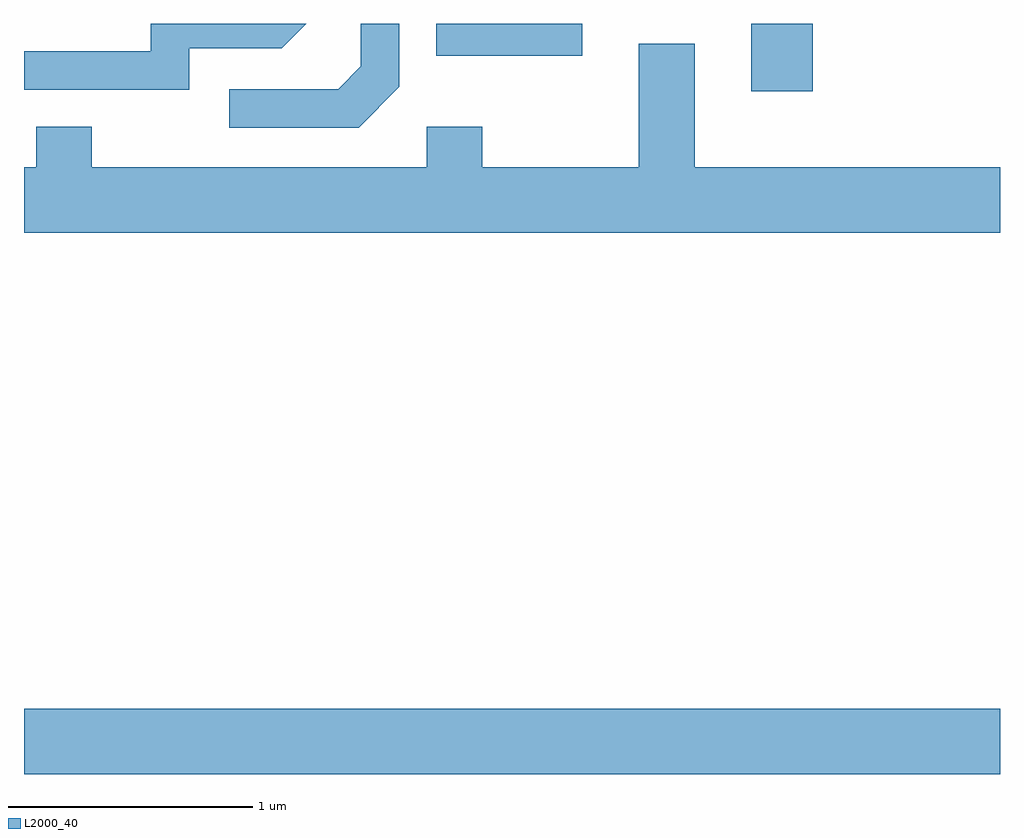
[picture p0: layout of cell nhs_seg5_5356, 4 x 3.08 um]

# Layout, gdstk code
import gdstk
lib = gdstk.Library(unit=1e-6, precision=1e-09)
def R(c, l, rs):  # rectangles x0, y0, x1, y1
    for r in rs: c.add(gdstk.rectangle(r[:2], r[2:], *l))
def P(c, l, *ps):  # polygons
    for p in ps: c.add(gdstk.Polygon(p, *l))
L2000_40 = (2000, 40)

nhs_seg5_5356 = lib.new_cell('nhs_seg5_5356')
R(nhs_seg5_5356, L2000_40, [(343.611,1478.996,347.611,1479.264), (346.591,1481.796,346.844,1482.072), (345.301,1481.941,345.899,1482.072)])
P(nhs_seg5_5356, L2000_40, [(345.149,1481.814),(345.149,1482.072),(344.991,1482.072),(344.991,1481.897),(344.899,1481.804),(344.453,1481.804),(344.453,1481.646),(344.982,1481.646)],
  [(344.289,1481.971),(344.667,1481.971),(344.767,1482.072),(344.131,1482.072),(344.131,1481.959),(343.611,1481.959),(343.611,1481.801),(344.289,1481.801)],
  [(347.611,1481.484),(346.359,1481.484),(346.359,1481.989),(346.131,1481.989),(346.131,1481.484),(345.489,1481.484),(345.489,1481.649),(345.261,1481.649),(345.261,1481.484),(343.889,1481.484),(343.889,1481.649),(343.661,1481.649),(343.661,1481.484),(343.611,1481.484),(343.611,1481.216),(347.611,1481.216)])

lib.write_gds('nhs_seg5_5356.gds')
